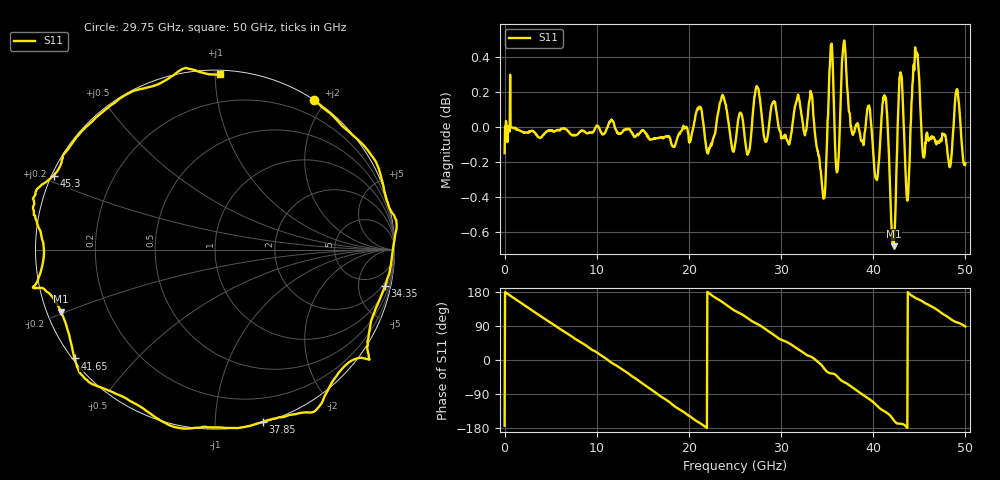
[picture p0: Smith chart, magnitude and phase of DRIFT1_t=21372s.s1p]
!Created with skrf (http://scikit-rf.org).
# Hz S RI R 50.0
!freq ReS11 ImS11
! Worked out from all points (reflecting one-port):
!   1001 points, 300 kHz to 50 GHz, reference 50 ohm
!   lowest |S11| = -0.7 dB at 42.2 GHz (marker M1), VSWR 25.52, Z = 2.03 - j9.7 ohm
!   phase of S11 starts at -174 deg and turns -818 deg over the sweep
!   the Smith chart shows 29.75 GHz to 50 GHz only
!   S11 on the Smith chart (normalised r, x): 29.75 GHz: 0.00, +1.86; 34.35 GHz: 1.39, -9.16; 37.85 GHz: 0.01, -1.32; 41.65 GHz: 0.01, -0.34; 45.3 GHz: 0.01, +0.22; 50 GHz: 0.02, +1.03
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300000  -0.9767 -0.1096
1.450291e9  -0.9124 0.405
3.25028e9  -0.5918 0.8014
6.250262e9  0.2019 0.978
9.500243e9  0.8924 0.4423
1.250022e10  0.9321 -0.3495
1.580021e10  0.2376 -0.9627
1.73502e10  -0.2109 -0.9705
1.875019e10  -0.5981 -0.7924
2.150017e10  -0.9933 -0.1508
2.350016e10  -0.9236 0.4283
2.500015e10  -0.6334 0.759
2.740014e10  -0.0953 1.022
2.975012e10  0.5503 0.8341
3.125011e10  0.7872 0.6201
3.31501e10  1.005 0.1725
3.435009e10  0.9468 -0.2044
3.520009e10  0.8531 -0.576
3.750008e10  0.3713 -0.9344
3.785007e10  0.2685 -0.9588
3.960006e10  -0.2382 -0.9838
4.165005e10  -0.7826 -0.6062
4.220005e10  -0.8573 -0.3463
4.290004e10  -1.012 -0.2131
4.375004e10  -0.9548 0.0155
4.530003e10  -0.8982 0.4128
4.770001e10  -0.489 0.8667
5e10  0.0256 0.976
